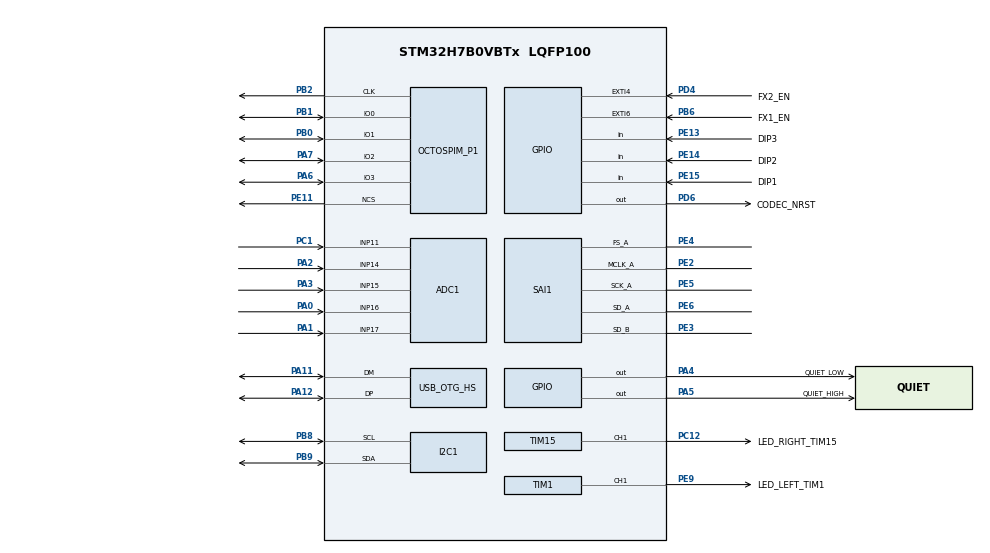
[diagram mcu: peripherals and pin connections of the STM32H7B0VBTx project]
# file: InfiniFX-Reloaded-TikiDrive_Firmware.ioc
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ADC1.Channel-0\#ChannelRegularConversion=ADC_CHANNEL_16
ADC1.Channel-1\#ChannelRegularConversion=ADC_CHANNEL_17
ADC1.Channel-2\#ChannelRegularConversion=ADC_CHANNEL_14
ADC1.Channel-3\#ChannelRegularConversion=ADC_CHANNEL_15
ADC1.Channel-4\#ChannelRegularConversion=ADC_CHANNEL_11
ADC1.ClockPrescaler=ADC_CLOCK_ASYNC_DIV2
ADC1.ConversionDataManagement=ADC_CONVERSIONDATA_DMA_CIRCULAR
ADC1.EOCSelection=ADC_EOC_SEQ_CONV
ADC1.ExternalTrigConv=ADC_EXTERNALTRIG_T3_TRGO
ADC1.NbrOfConversion=5
ADC1.NbrOfConversionFlag=1
ADC1.OffsetNumber-0\#ChannelRegularConversion=ADC_OFFSET_NONE
ADC1.OffsetNumber-1\#ChannelRegularConversion=ADC_OFFSET_NONE
ADC1.OffsetNumber-2\#ChannelRegularConversion=ADC_OFFSET_NONE
ADC1.OffsetNumber-3\#ChannelRegularConversion=ADC_OFFSET_NONE
ADC1.OffsetNumber-4\#ChannelRegularConversion=ADC_OFFSET_NONE
ADC1.OffsetSignedSaturation-0\#ChannelRegularConversion=DISABLE
ADC1.OffsetSignedSaturation-1\#ChannelRegularConversion=DISABLE
ADC1.OffsetSignedSaturation-2\#ChannelRegularConversion=DISABLE
ADC1.OffsetSignedSaturation-3\#ChannelRegularConversion=DISABLE
ADC1.OffsetSignedSaturation-4\#ChannelRegularConversion=DISABLE
ADC1.Rank-0\#ChannelRegularConversion=1
ADC1.Rank-1\#ChannelRegularConversion=2
ADC1.Rank-2\#ChannelRegularConversion=3
ADC1.Rank-3\#ChannelRegularConversion=4
ADC1.Rank-4\#ChannelRegularConversion=5
ADC1.SamplingTime-0\#ChannelRegularConversion=ADC_SAMPLETIME_32CYCLES_5
ADC1.SamplingTime-1\#ChannelRegularConversion=ADC_SAMPLETIME_32CYCLES_5
ADC1.SamplingTime-2\#ChannelRegularConversion=ADC_SAMPLETIME_32CYCLES_5
ADC1.SamplingTime-3\#ChannelRegularConversion=ADC_SAMPLETIME_32CYCLES_5
ADC1.SamplingTime-4\#ChannelRegularConversion=ADC_SAMPLETIME_32CYCLES_5
ADC1.master=1
ADC2.Channel-1\#ChannelRegularConversion=ADC_CHANNEL_TEMPSENSOR
ADC2.ClockPrescaler=ADC_CLOCK_ASYNC_DIV2
ADC2.NbrOfConversionFlag=1
ADC2.OffsetNumber-1\#ChannelRegularConversion=ADC_OFFSET_NONE
ADC2.OffsetSignedSaturation-1\#ChannelRegularConversion=DISABLE
ADC2.Rank-1\#ChannelRegularConversion=1
ADC2.SamplingTime-1\#ChannelRegularConversion=ADC_SAMPLETIME_1CYCLE_5
CORTEX_M7.CPU_DCache=Enabled
CORTEX_M7.CPU_ICache=Enabled
Dma.ADC1.0.Direction=DMA_PERIPH_TO_MEMORY
Dma.ADC1.0.EventEnable=DISABLE
Dma.ADC1.0.FIFOMode=DMA_FIFOMODE_DISABLE
Dma.ADC1.0.Instance=DMA2_Stream0
Dma.ADC1.0.MemDataAlignment=DMA_MDATAALIGN_HALFWORD
Dma.ADC1.0.MemInc=DMA_MINC_ENABLE
Dma.ADC1.0.Mode=DMA_CIRCULAR
Dma.ADC1.0.PeriphDataAlignment=DMA_PDATAALIGN_HALFWORD
Dma.ADC1.0.PeriphInc=DMA_PINC_DISABLE
Dma.ADC1.0.Polarity=HAL_DMAMUX_REQ_GEN_RISING
Dma.ADC1.0.Priority=DMA_PRIORITY_LOW
Dma.ADC1.0.RequestNumber=1
Dma.ADC1.0.SignalID=NONE
Dma.ADC1.0.SyncEnable=DISABLE
Dma.ADC1.0.SyncPolarity=HAL_DMAMUX_SYNC_NO_EVENT
Dma.ADC1.0.SyncRequestNumber=1
Dma.ADC1.0.SyncSignalID=NONE
Dma.Request0=ADC1
Dma.Request1=SAI1_A
Dma.Request2=SAI1_B
Dma.SAI1_A.1.Direction=DMA_MEMORY_TO_PERIPH
Dma.SAI1_A.1.EventEnable=DISABLE
Dma.SAI1_A.1.FIFOMode=DMA_FIFOMODE_DISABLE
Dma.SAI1_A.1.Instance=DMA1_Stream0
Dma.SAI1_A.1.MemDataAlignment=DMA_MDATAALIGN_WORD
Dma.SAI1_A.1.MemInc=DMA_MINC_ENABLE
Dma.SAI1_A.1.Mode=DMA_CIRCULAR
Dma.SAI1_A.1.PeriphDataAlignment=DMA_PDATAALIGN_WORD
Dma.SAI1_A.1.PeriphInc=DMA_PINC_DISABLE
Dma.SAI1_A.1.Polarity=HAL_DMAMUX_REQ_GEN_RISING
Dma.SAI1_A.1.Priority=DMA_PRIORITY_VERY_HIGH
Dma.SAI1_A.1.RequestNumber=1
Dma.SAI1_A.1.SignalID=NONE
Dma.SAI1_A.1.SyncEnable=DISABLE
Dma.SAI1_A.1.SyncPolarity=HAL_DMAMUX_SYNC_NO_EVENT
Dma.SAI1_A.1.SyncRequestNumber=1
Dma.SAI1_A.1.SyncSignalID=NONE
Dma.SAI1_B.2.Direction=DMA_PERIPH_TO_MEMORY
Dma.SAI1_B.2.EventEnable=DISABLE
Dma.SAI1_B.2.FIFOMode=DMA_FIFOMODE_DISABLE
Dma.SAI1_B.2.Instance=DMA1_Stream1
Dma.SAI1_B.2.MemDataAlignment=DMA_MDATAALIGN_WORD
Dma.SAI1_B.2.MemInc=DMA_MINC_ENABLE
Dma.SAI1_B.2.Mode=DMA_CIRCULAR
Dma.SAI1_B.2.PeriphDataAlignment=DMA_PDATAALIGN_WORD
Dma.SAI1_B.2.PeriphInc=DMA_PINC_DISABLE
Dma.SAI1_B.2.Polarity=HAL_DMAMUX_REQ_GEN_RISING
Dma.SAI1_B.2.Priority=DMA_PRIORITY_VERY_HIGH
Dma.SAI1_B.2.RequestNumber=1
Dma.SAI1_B.2.SignalID=NONE
Dma.SAI1_B.2.SyncEnable=DISABLE
Dma.SAI1_B.2.SyncPolarity=HAL_DMAMUX_SYNC_NO_EVENT
Dma.SAI1_B.2.SyncRequestNumber=1
Dma.SAI1_B.2.SyncSignalID=NONE
I2C1.Timing=0x20B0CCFF
Mcu.Family=STM32H7
Mcu.Name=STM32H7B0VBTx
Mcu.Package=LQFP100
NVIC.DMA1_Stream0_IRQn=true\:0\:0\:false\:false\:true\:false\:true\:true
NVIC.DMA1_Stream1_IRQn=true\:0\:0\:false\:false\:true\:false\:true\:true
NVIC.DMA2_Stream0_IRQn=true\:0\:0\:false\:false\:true\:false\:true\:true
NVIC.EXTI4_IRQn=true\:0\:0\:false\:false\:true\:true\:true\:true
NVIC.EXTI9_5_IRQn=true\:0\:0\:false\:false\:true\:true\:true\:true
NVIC.OTG_HS_EP1_IN_IRQn=true\:0\:0\:false\:false\:true\:true\:true\:true
NVIC.OTG_HS_EP1_OUT_IRQn=true\:0\:0\:false\:false\:true\:true\:true\:true
NVIC.OTG_HS_IRQn=true\:0\:0\:false\:false\:true\:false\:true\:true
NVIC.PriorityGroup=NVIC_PRIORITYGROUP_4
NVIC.TIM3_IRQn=true\:0\:0\:false\:false\:true\:true\:true\:true
PA0.Mode=IN16-Single-Ended
PA0.Signal=ADC1_INP16
PA1.Mode=IN17-Single-Ended
PA1.Signal=ADC1_INP17
PA11.GPIO_Speed=GPIO_SPEED_FREQ_VERY_HIGH
PA11.Mode=Device_Only_FS
PA11.Signal=USB_OTG_HS_DM
PA12.GPIO_Speed=GPIO_SPEED_FREQ_VERY_HIGH
PA12.Mode=Device_Only_FS
PA12.Signal=USB_OTG_HS_DP
PA13.Mode=Serial_Wire
PA13.Signal=DEBUG_JTMS-SWDIO
PA14.Mode=Serial_Wire
PA14.Signal=DEBUG_JTCK-SWCLK
PA2.Signal=ADCx_INP14
PA3.Mode=IN15-Single-Ended
PA3.Signal=ADC1_INP15
PA4.GPIO_Label=QUIET_LOW
PA4.GPIO_Speed=GPIO_SPEED_FREQ_VERY_HIGH
PA4.Signal=GPIO_Output
PA5.GPIO_Label=QUIET_HIGH
PA5.GPIO_Speed=GPIO_SPEED_FREQ_VERY_HIGH
PA5.PinState=GPIO_PIN_SET
PA5.Signal=GPIO_Output
PA6.GPIO_PuPd=GPIO_PULLUP
PA6.Mode=OCTOSPI2_IOL_Port1L
PA6.Signal=OCTOSPIM_P1_IO3
PA7.GPIO_PuPd=GPIO_PULLUP
PA7.Mode=OCTOSPI2_IOL_Port1L
PA7.Signal=OCTOSPIM_P1_IO2
PB0.GPIO_PuPd=GPIO_PULLUP
PB0.Mode=OCTOSPI2_IOL_Port1L
PB0.Signal=OCTOSPIM_P1_IO1
PB1.GPIO_PuPd=GPIO_PULLUP
PB1.Mode=OCTOSPI2_IOL_Port1L
PB1.Signal=OCTOSPIM_P1_IO0
PB2.Mode=O2_P1_CLK
PB2.Signal=OCTOSPIM_P1_CLK
PB6.GPIO_Label=FX1_EN
PB6.GPIO_ModeDefaultEXTI=GPIO_MODE_IT_RISING_FALLING
PB6.GPIO_PuPd=GPIO_PULLUP
PB6.Signal=GPXTI6
PB8.Mode=I2C
PB8.Signal=I2C1_SCL
PB9.Mode=I2C
PB9.Signal=I2C1_SDA
PC1.Signal=ADCx_INP11
PC12.GPIO_Label=LED_RIGHT_TIM15
PC12.GPIO_Speed=GPIO_SPEED_FREQ_MEDIUM
PC12.Signal=S_TIM15_CH1
PD4.GPIO_Label=FX2_EN
PD4.GPIO_ModeDefaultEXTI=GPIO_MODE_IT_RISING_FALLING
PD4.GPIO_PuPd=GPIO_PULLUP
PD4.Signal=GPXTI4
PD6.GPIO_Label=CODEC_NRST
PD6.Signal=GPIO_Output
PE11.Mode=OCTOSPI2_Port1_NCS
PE11.Signal=OCTOSPIM_P1_NCS
PE13.GPIO_Label=DIP3
PE13.GPIO_PuPd=GPIO_PULLUP
PE13.Signal=GPIO_Input
PE14.GPIO_Label=DIP2
PE14.GPIO_PuPd=GPIO_PULLUP
PE14.Signal=GPIO_Input
PE15.GPIO_Label=DIP1
PE15.GPIO_PuPd=GPIO_PULLUP
PE15.Signal=GPIO_Input
PE2.GPIO_Speed=GPIO_SPEED_FREQ_VERY_HIGH
PE2.Mode=SAI_A_MasterWithClock
PE2.Signal=SAI1_MCLK_A
PE3.GPIO_PuPd=GPIO_PULLDOWN
PE3.GPIO_Speed=GPIO_SPEED_FREQ_VERY_HIGH
PE3.Mode=SAI_B_SyncSlave
PE3.Signal=SAI1_SD_B
PE4.GPIO_Speed=GPIO_SPEED_FREQ_VERY_HIGH
PE4.Mode=SAI_A_MasterWithClock
PE4.Signal=SAI1_FS_A
PE5.GPIO_Speed=GPIO_SPEED_FREQ_VERY_HIGH
PE5.Mode=SAI_A_MasterWithClock
PE5.Signal=SAI1_SCK_A
PE6.GPIO_Speed=GPIO_SPEED_FREQ_VERY_HIGH
PE6.Mode=SAI_A_MasterWithClock
PE6.Signal=SAI1_SD_A
PE9.GPIO_Label=LED_LEFT_TIM1
PE9.GPIO_Speed=GPIO_SPEED_FREQ_MEDIUM
PE9.Signal=S_TIM1_CH1
PH0-OSC_IN.Mode=HSE-External-Oscillator
PH0-OSC_IN.Signal=RCC_OSC_IN
PH1-OSC_OUT.Mode=HSE-External-Oscillator
PH1-OSC_OUT.Signal=RCC_OSC_OUT
ProjectManager.HeapSize=0x200
ProjectManager.StackSize=0x400
ProjectManager.TargetToolchain=STM32CubeIDE
RCC.ADCCLockSelection=RCC_ADCCLKSOURCE_PLL3
RCC.ADCFreq_Value=48000000
RCC.APB1Freq_Value=140000000
RCC.APB2Freq_Value=140000000
RCC.APB3Freq_Value=140000000
RCC.APB4Freq_Value=140000000
RCC.CDPPRE=RCC_APB3_DIV2
RCC.CDPPRE1=RCC_APB1_DIV2
RCC.CDPPRE2=RCC_APB2_DIV2
RCC.CortexFreq_Value=280000000
RCC.DIVM1=12
RCC.DIVM2=12
RCC.DIVM3=24
RCC.DIVN1=280
RCC.DIVN2=98
RCC.DIVN3=192
RCC.DIVP3=4
RCC.DIVQ3=4
RCC.DIVR3=4
RCC.HCLKFreq_Value=280000000
RCC.PLL2FRACN=0
RCC.PLL3FRACN=0
RCC.PLLFRACN=0
RCC.SAI1CLockSelection=RCC_SAI1CLKSOURCE_PLL2
RCC.SRDPPRE=RCC_APB4_DIV2
RCC.SYSCLKFreq_VALUE=280000000
RCC.SYSCLKSource=RCC_SYSCLKSOURCE_PLLCLK
RCC.USBCLockSelection=RCC_USBCLKSOURCE_PLL3
RCC.USBFreq_Value=48000000
SAI1.AudioFrequency-SAI_A_MasterWithClock=SAI_AUDIO_FREQUENCY_32K
SAI1.BasicDataSize-SAI_A_MasterWithClock=SAI_PROTOCOL_DATASIZE_24BIT
SAI1.BasicDataSize-SAI_B_SyncSlave=SAI_PROTOCOL_DATASIZE_24BIT
SAI1.ErrorAudioFreq-SAI_A_MasterWithClock=-0.3 %
SAI1.InitProtocol-SAI_A_MasterWithClock=Enable
SAI1.InitProtocol-SAI_B_SyncSlave=Enable
SAI1.Instance-SAI_A_MasterWithClock=SAI$Index_Block_A
SAI1.Instance-SAI_B_SyncSlave=SAI$Index_Block_B
SAI1.MckOutput=SAI_MCK_OUTPUT_ENABLE
SAI1.RealAudioFreq-SAI_A_MasterWithClock=31.901 KHz
SAI1.VirtualMode-SAI_A_MasterWithClock=VM_MASTER
SAI1.VirtualMode-SAI_B_SyncSlave=VM_SLAVE
SAI1.VirtualProtocol-SAI_A_BASIC=VM_BASIC_PROTOCOL
SAI1.VirtualProtocol-SAI_B_BASIC=VM_BASIC_PROTOCOL
SH.ADCx_INP11.0=ADC1_INP11,IN11-Single-Ended
SH.ADCx_INP14.0=ADC1_INP14,IN14-Single-Ended
SH.S_TIM15_CH1.0=TIM15_CH1,PWM Generation1 CH1
SH.S_TIM1_CH1.0=TIM1_CH1,PWM Generation1 CH1
TIM1.Channel-PWM\ Generation1\ CH1=TIM_CHANNEL_1
TIM1.Period=100-1
TIM1.Prescaler=28000-1
TIM15.Channel-PWM\ Generation1\ CH1=TIM_CHANNEL_1
TIM15.Period=100-1
TIM15.Prescaler=28000-1
TIM3.Channel-PWM\ Generation1\ No\ Output=TIM_CHANNEL_1
TIM3.Period=1000-1
TIM3.Prescaler=28000-1
TIM3.TIM_MasterOutputTrigger=TIM_TRGO_UPDATE
USB_DEVICE.CLASS_NAME_HS=AUDIO
USB_DEVICE.MANUFACTURER_STRING=Phil's Lab
USB_DEVICE.PRODUCT_STRING_AUDIO_HS=InfiniFX
USB_DEVICE.USBD_AUDIO_FREQ=44100
USB_DEVICE.USBD_MAX_NUM_INTERFACES=2
USB_DEVICE.VirtualMode=Audio
USB_DEVICE.VirtualMode-AUDIO_HS=Audio
USB_DEVICE.VirtualModeHS=Audio_HS
USB_OTG_HS.VirtualMode-Device_Only_FS=Device_Only_FS
USB_OTG_HS.dma_enable-Device_Only_FS=DISABLE
VP_ADC2_TempSens_Input.Mode=IN-TempSens
VP_OCTOSPI2_VS_quad.Mode=quad_mode
VP_SAI1_VP_$IpInstance_SAIA_SAI_BASIC.Mode=SAI_A_BASIC
VP_SAI1_VP_$IpInstance_SAIB_SAI_BASIC.Mode=SAI_B_BASIC
VP_TIM15_VS_ClockSourceINT.Mode=Internal
VP_TIM1_VS_ClockSourceINT.Mode=Internal
VP_TIM3_VS_ClockSourceINT.Mode=Internal
VP_TIM3_VS_no_output1.Mode=PWM Generation1 No Output
VP_USB_DEVICE_VS_USB_DEVICE_AUDIO_HS.Mode=AUDIO_HS
board=custom

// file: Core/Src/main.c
/* USER CODE BEGIN Header */
/**
  ******************************************************************************
  * @file           : main.c
  * @brief          : Main program body
  ******************************************************************************
  * @attention
  *
  * Copyright (c) 2022 STMicroelectronics.
  * All rights reserved.
  *
  * This software is licensed under terms that can be found in the LICENSE file
  * in the root directory of this software component.
  * If no LICENSE file comes with this software, it is provided AS-IS.
  *
  ******************************************************************************
  */
/* USER CODE END Header */
#include "main.h"
#include "usb_device.h"

/* USER CODE BEGIN Includes */
#include "CS4270-Codec.h"

#include "IFX_Overdrive.h"
#include "IFX_NoiseGate.h"
#include "IFX_LogAudioPot.h"
#include "IFX_Delay.h"
#include "IFX_Chorus.h"
/* USER CODE END Includes */

/* USER CODE BEGIN PD */
#define SAMPLING_FREQUENCY_HZ 32552.0f

#define UINT16_TO_FLOAT 0.00001525878f
#define INT16_TO_FLOAT 	0.00003051757f
#define FLOAT_TO_INT16 	32768.0f

#define AUDIO_BUFFER_SIZE 256

// Number of ADC channels for controls (pots)
#define CONTROL_SETTING_COUNT 5

// 1st order low-pass filter constant for control setting values (Control ADC). 0 = no filtering, 1 = max. filtering
#define CONTROL_SETTING_ALPHA 0.5f

// Controls have to be changed by +- this percentage amount to update FX parameters
#define CONTROL_SETTING_CHANGE_THRESHOLD 0.025f

#define OD_GAIN_MIN				 10.0f
#define OD_GAIN_SCALE			 100.0f
#define OD_GAIN_BOOST			 100.0f

#define OD_HPF_CUTOFF_MAX		 1000.0f
#define OD_HPF_CUTOFF_SCALE 	  900.0f

#define OD_LPF_CUTOFF_MIN		  500.0f
#define OD_LPF_CUTOFF_SCALE		16000.0f
#define OD_LPF_DAMP				   1.0f
/* USER CODE END PD */

ADC_HandleTypeDef hadc1;
ADC_HandleTypeDef hadc2;
DMA_HandleTypeDef hdma_adc1;

I2C_HandleTypeDef hi2c1;

OSPI_HandleTypeDef hospi2;

SAI_HandleTypeDef hsai_BlockA1;
SAI_HandleTypeDef hsai_BlockB1;
DMA_HandleTypeDef hdma_sai1_a;
DMA_HandleTypeDef hdma_sai1_b;

TIM_HandleTypeDef htim1;
TIM_HandleTypeDef htim3;
TIM_HandleTypeDef htim15;

/* USER CODE BEGIN PV */
//IFX_NoiseGate ng		__attribute__ ((section(".audiobuffer")));
IFX_Overdrive od		__attribute__ ((section(".audiobuffer")));

//IFX_Delay dly			;//__attribute__ ((section(".audiobuffer")));
//IFX_Delay dly2;

//IFX_Chorus chorus		__attribute__ ((section(".audiobuffer")));

uint8_t fxEnabled1		__attribute__ ((section(".audiobuffer")));
uint8_t fxEnabled2		__attribute__ ((section(".audiobuffer")));

/* NON-CACHEABLE MEMORY */
int32_t adcBuf[AUDIO_BUFFER_SIZE] 		__attribute__ ((section(".audiobuffer")));
int32_t dacBuf[AUDIO_BUFFER_SIZE] 		__attribute__ ((section(".audiobuffer")));

static volatile int32_t *inBufPtr 		__attribute__ ((section(".audiobuffer")));
static volatile int32_t *outBufPtr 		__attribute__ ((section(".audiobuffer")));

volatile uint8_t processHalfFlag		__attribute__ ((section(".audiobuffer")));

volatile uint16_t controlSettingBuf[CONTROL_SETTING_COUNT] 	__attribute__ ((section(".audiobuffer")));
volatile float controlSetting[CONTROL_SETTING_COUNT]		__attribute__ ((section(".audiobuffer")));
volatile uint8_t controlSettingsLocked						__attribute__ ((section(".audiobuffer")));
volatile uint8_t controlSettingsFlag						__attribute__ ((section(".audiobuffer")));

volatile float outputVolume									__attribute__ ((section(".audiobuffer")));

/* USER CODE END PV */

void SystemClock_Config(void);
void PeriphCommonClock_Config(void);
static void MX_GPIO_Init(void);
static void MX_DMA_Init(void);
static void MX_ADC1_Init(void);
static void MX_ADC2_Init(void);
static void MX_OCTOSPI2_Init(void);
static void MX_SAI1_Init(void);
static void MX_TIM3_Init(void);
static void MX_I2C1_Init(void);
static void MX_TIM15_Init(void);
static void MX_TIM1_Init(void);
/* USER CODE BEGIN PFP */
void MPU_Init()
{
	MPU_Region_InitTypeDef MPU_InitStruct;

	/* Disable MPU */
	HAL_MPU_Disable();

	/* Configure RAM CD region as Region N°0, 128kB of size and R/W region */
	MPU_InitStruct.Enable = MPU_REGION_ENABLE;
	MPU_InitStruct.BaseAddress = 0x30000000;
	MPU_InitStruct.Size = MPU_REGION_SIZE_128KB;
	MPU_InitStruct.AccessPermission = MPU_REGION_FULL_ACCESS;
	MPU_InitStruct.IsBufferable = MPU_ACCESS_NOT_BUFFERABLE;
	MPU_InitStruct.IsCacheable = MPU_ACCESS_NOT_CACHEABLE;
	MPU_InitStruct.IsShareable = MPU_ACCESS_SHAREABLE;
	MPU_InitStruct.Number = MPU_REGION_NUMBER0;
	MPU_InitStruct.TypeExtField = MPU_TEX_LEVEL0;
	MPU_InitStruct.SubRegionDisable = 0x00;
	MPU_InitStruct.DisableExec = MPU_INSTRUCTION_ACCESS_ENABLE;
	HAL_MPU_ConfigRegion(&MPU_InitStruct);

	/* Enable MPU */
	HAL_MPU_Enable(MPU_PRIVILEGED_DEFAULT);
}

void Process_HalfBuffer() {

	controlSettingsLocked = 1;

	// Input samples
	static float leftIn		= 0.0f;
	static float rightIn	= 0.0f;

	// Output samples
	static float leftOut	= 0.0f;
	static float rightOut	= 0.0f;

	// Loop through half of audio buffer (double buffering), convert int->float, apply processing, convert float->int, set output buffers
	for (uint16_t sampleIndex = 0; sampleIndex < (AUDIO_BUFFER_SIZE/2) - 1; sampleIndex += 2) {

		/*
		 * Convert current input samples (24-bits) to floats (two I2S data lines, two channels per data line)
		 */

		// Extract 24-bits via bit mask
		inBufPtr[sampleIndex]		&= 0xFFFFFF;
		inBufPtr[sampleIndex + 1]	&= 0xFFFFFF;

		// Check if number is negative (sign bit)
		if (inBufPtr[sampleIndex] & 0x800000) {
			inBufPtr[sampleIndex] |= ~0xFFFFFF;
		}

		if (inBufPtr[sampleIndex + 1] & 0x800000) {
			inBufPtr[sampleIndex + 1] |= ~0xFFFFFF;
		}

		// Normalise to float (-1.0, +1.0)
		leftIn  = (float) inBufPtr[sampleIndex]     / (float) (0x7FFFFF);
		rightIn = (float) inBufPtr[sampleIndex + 1] / (float) (0x7FFFFF);

		/*
		 * Apply processing
		 */
		leftOut  = outputVolume * IFX_Overdrive_Update(&od, leftIn);//(0.25f * leftIn + 0.75f * rightIn); //IFX_Delay_Update(&dly, leftIn);
		rightOut = outputVolume * rightIn;

		/*
		 * Convert floats to 32-bit output samples
		 */

		// Ensure output samples are within [-1.0,+1.0] range
		if (leftOut < -1.0f) {
			leftOut = -1.0f;
		} else if (leftOut > 1.0f) {
			leftOut =  1.0f;
		}

		if (rightOut < -1.0f) {
			rightOut = -1.0f;
		} else if (rightOut > 1.0f) {
			rightOut =  1.0f;
		}

		// Scale to 24-bit signed integer and set output buffer
		outBufPtr[sampleIndex]	   = (int32_t) (leftOut  * 0x7FFFFF);
		outBufPtr[sampleIndex + 1] = (int32_t) (rightOut * 0x7FFFFF);

	}

	controlSettingsLocked = 0;

}

/*
void Process_HalfBuffer() {

	static float leftIn;
	static float leftProcessed;
	static int16_t leftOut;

	// Lock control settings
	controlSettingsLocked = 1;

	// Loop through half of double buffer
	for (uint8_t n = 0; n < (AUDIO_BUFFER_SIZE/2) - 1; n += 2) {

		// Convert to float
		leftIn  = INT16_TO_FLOAT * ((float) inBufPtr[n]);

		// Apply processing to input

		leftProcessed = leftIn;

		//leftProcessed = IFX_Overdrive_Update(&od, leftIn);

		//leftProcessed = IFX_Delay_Update(&dly, leftIn);

		//leftProcessed = IFX_NoiseGate_Update(&ng, leftProcessed);

		//leftProcessed = IFX_Chorus_Update(&ch, leftIn);

		// Convert processed float to int16_t for output buffer
		leftOut  = (int16_t) (FLOAT_TO_INT16 * outputVolume * leftProcessed);

		// Set output buffer samples
		outBufPtr[n]   = leftOut;
		outBufPtr[n+1] = 0;

	}

	// Allow control settings to be updated
	controlSettingsLocked = 0;

}
*/

/* ADC Callbacks */
void HAL_SAI_RxHalfCpltCallback(SAI_HandleTypeDef *hsai) {

	inBufPtr  = &(adcBuf[0]);
	outBufPtr = &(dacBuf[0]);

	Process_HalfBuffer();

}

void HAL_SAI_RxCpltCallback(SAI_HandleTypeDef *hsai) {

	inBufPtr  = &(adcBuf[AUDIO_BUFFER_SIZE/2]);
	outBufPtr = &(dacBuf[AUDIO_BUFFER_SIZE/2]);

	Process_HalfBuffer();

}

void HAL_ADC_ConvCpltCallback(ADC_HandleTypeDef *hadc) {

	if (hadc->Instance == ADC1) {

		controlSettingsFlag = 1;

	}

}

void SetLED(uint8_t index, uint8_t intensity) {

	if (index == 0) {

		htim1.Instance->CCR1 = intensity;

	} else {

		htim15.Instance->CCR1 = intensity;

	}

}

void Error_LED() {

	while (1) {

		SetLED(0, 0);
		SetLED(1, 0);
		HAL_Delay(500);

		SetLED(0, 50);
		SetLED(1, 50);
		HAL_Delay(500);

	}

}

/* USER CODE END PFP */

/* USER CODE BEGIN 0 */
void HAL_GPIO_EXTI_Callback(uint16_t GPIO_Pin)
{

	// OD/Noise gate
	if (GPIO_Pin == FX1_EN_Pin) {

		fxEnabled1 = fxEnabled1 ? 0 : 1;
		SetLED(0, 50 * fxEnabled1);

	// Gain/volume boost
	} else if (GPIO_Pin == FX2_EN_Pin) {

		fxEnabled2 = fxEnabled2 ? 0 : 1;
		SetLED(1, 50 * fxEnabled2);

		od.boostGain = fxEnabled2 * OD_GAIN_BOOST;

	}

}
/* USER CODE END 0 */

int main(void)
{
  /* USER CODE BEGIN 1 */
  MPU_Init();
  /* USER CODE END 1 */
/* Enable the CPU Cache */

  /* Enable I-Cache---------------------------------------------------------*/
  SCB_EnableICache();

  /* Enable D-Cache---------------------------------------------------------*/
  SCB_EnableDCache();

  /* MCU Configuration--------------------------------------------------------*/

  /* Reset of all peripherals, Initializes the Flash interface and the Systick. */
  HAL_Init();

  /* Configure the system clock */
  SystemClock_Config();

/* Configure the peripherals common clocks */
  PeriphCommonClock_Config();

  /* Initialize all configured peripherals */
  MX_GPIO_Init();
  MX_DMA_Init();
  MX_ADC1_Init();
  MX_ADC2_Init();
  MX_OCTOSPI2_Init();
  MX_SAI1_Init();
  MX_USB_DEVICE_Init();
  MX_TIM3_Init();
  MX_I2C1_Init();
  MX_TIM15_Init();
  MX_TIM1_Init();
  /* USER CODE BEGIN 2 */

  /* Reset variables */
  processHalfFlag = 0;
  controlSetting[0] = 0.5f; controlSetting[1] = 0.5f; controlSetting[2] = 0.5f; controlSetting[3] = 0.5f; controlSetting[4] = 0.5f;
  outputVolume = 1.00f;

  /* Initialise FX */
  //IFX_NoiseGate_Init(&ng, 0.1f, 2.0f, 2.0f, 20.0f, SAMPLING_FREQUENCY_HZ);

  IFX_Overdrive_Init(&od, SAMPLING_FREQUENCY_HZ, OD_HPF_CUTOFF_MAX, OD_GAIN_MIN, OD_LPF_CUTOFF_MIN, OD_LPF_DAMP);

/*  IFX_Chorus_Init(&chorus,
					10, 15,
					10.0f, 10.0f,
				  0.25f, 0.25f,
				  1.0f, 1.0f,
				  0.5f,
				  SAMPLING_FREQUENCY_HZ);*/

  //IFX_Delay_Init(&dly, 500.0f, 0.5f, 0.5f, SAMPLING_FREQUENCY_HZ);
  //IFX_Delay_Init(&dly2, 500.0f, 0.5f, 0.5f, SAMPLING_FREQUENCY_HZ);

  /* Start LED timers and set duty cycle to zero */
  HAL_TIM_PWM_Start(&htim1, TIM_CHANNEL_1);
  HAL_TIM_PWM_Start(&htim15, TIM_CHANNEL_1);

  /* Check footswitch status */
  fxEnabled1 = HAL_GPIO_ReadPin(FX1_EN_GPIO_Port, FX1_EN_Pin);
  fxEnabled2 = HAL_GPIO_ReadPin(FX2_EN_GPIO_Port, FX2_EN_Pin);

  od.boostGain = fxEnabled2 * OD_GAIN_BOOST;

  SetLED(0, 50 * fxEnabled1);
  SetLED(1, 50 * fxEnabled2);

  /* Calibrate control setting ADCs */
  HAL_StatusTypeDef halStatus;

  halStatus = HAL_ADCEx_Calibration_Start(&hadc1, ADC_CALIB_OFFSET, ADC_SINGLE_ENDED);
  if ( halStatus != HAL_OK ) { Error_LED(); }

  /* Start control setting ADCs and sampling timer */
  halStatus = HAL_ADC_Start_DMA(&hadc1, (uint32_t *) controlSettingBuf, CONTROL_SETTING_COUNT);
  if ( halStatus != HAL_OK ) { Error_LED(); }

  halStatus = HAL_TIM_Base_Start(&htim3);
  if ( halStatus != HAL_OK ) { Error_LED(); }

  /* Initialise SAIs (to start clocks, so that codec PLL locks) */

  halStatus = HAL_SAI_Init(&hsai_BlockA1);
  if ( halStatus != HAL_OK ) { Error_LED(); }

  halStatus = HAL_SAI_Init(&hsai_BlockB1);
  if ( halStatus != HAL_OK ) { Error_LED(); }

  /*
   * Initialise codec
   */
  uint8_t codecInitStatus = CS4270_Init();
  if ( codecInitStatus != 0 ) { Error_LED(); };

  /*
   * Start SAI DAC transmission
   */
  halStatus = HAL_SAI_Transmit_DMA(&hsai_BlockA1, (uint8_t *) dacBuf, AUDIO_BUFFER_SIZE);
  if ( halStatus != HAL_OK ) { Error_LED(); }

  /*
   * Start SAI ADC reception
   */
  halStatus = HAL_SAI_Receive_DMA(&hsai_BlockB1,  (uint8_t *) adcBuf, AUDIO_BUFFER_SIZE);
  if ( halStatus != HAL_OK ) { Error_LED(); }

  /* USER CODE END 2 */

  /* Infinite loop */
  while (1)
  {

    /* USER CODE BEGIN 3 */
//		if ( processHalfFlag ) {

	//		processHalfFlag = 0;
	//		Process_HalfBuffer();

	//	}

		if ( controlSettingsFlag && !controlSettingsLocked ) {

			float prevControlSetting[5];

			for (uint8_t controlSettingNum = 0; controlSettingNum < CONTROL_SETTING_COUNT; controlSettingNum++) {

				// Shift samples
				prevControlSetting[controlSettingNum] = controlSetting[controlSettingNum];

				// Convert raw ADC readings to float (0 ... 1), and low-pass filter
				controlSetting[controlSettingNum] = CONTROL_SETTING_ALPHA * prevControlSetting[controlSettingNum] + (1.0f - CONTROL_SETTING_ALPHA) * UINT16_TO_FLOAT * controlSettingBuf[controlSettingNum];

				// If large enough control setting change (out of deadband), set FX parameters
				if ( (controlSetting[controlSettingNum] > (1.0f + CONTROL_SETTING_CHANGE_THRESHOLD) * prevControlSetting[controlSettingNum])
				  || (controlSetting[controlSettingNum] < (1.0f - CONTROL_SETTING_CHANGE_THRESHOLD) * prevControlSetting[controlSettingNum]) ) {

					switch (controlSettingNum) {

						// Gain
						case 0:

							// Log
							//dly.mix = controlSetting[0];
							IFX_Overdrive_SetGain(&od, OD_GAIN_MIN + OD_GAIN_SCALE * controlSetting[0]);

							break;

						// EQ Low
						case 1:

							//IFX_Delay_SetLength(&dly, 50.0f + 950.0f * controlSetting[1], SAMPLING_FREQUENCY_HZ);
							IFX_Overdrive_SetHPF(&od, OD_HPF_CUTOFF_MAX - OD_HPF_CUTOFF_SCALE * controlSetting[1]);

							break;

						// Volume
						case 2:

							// Log
							outputVolume = controlSetting[2];

							break;

						// EQ High
						case 3:

							//dly.blend = controlSetting[3];
							IFX_Overdrive_SetLPF(&od, OD_LPF_CUTOFF_MIN + OD_LPF_CUTOFF_SCALE * controlSetting[3], OD_LPF_DAMP);

							break;

						// Noise Gate (Threshold)
						case 4:

							od.Q = -0.05f - controlSetting[4];
							//dly.feedback = controlSetting[4];
							// Log
							//IFX_Delay_SetLength(&dly, 5.0f + 500.0f * controlSetting[4], SAMPLING_FREQUENCY_HZ);
							//IFX_NoiseGate_SetThreshold(&ng, 0.3f * controlSetting[4]);

							break;

					}

				}

			}

			controlSettingsFlag = 0;

		}
  }
  /* USER CODE END 3 */
}

void SystemClock_Config(void)
{
  RCC_OscInitTypeDef RCC_OscInitStruct = {0};
  RCC_ClkInitTypeDef RCC_ClkInitStruct = {0};

  /*AXI clock gating */
  RCC->CKGAENR = 0xFFFFFFFF;

  /** Supply configuration update enable
  */
  HAL_PWREx_ConfigSupply(PWR_LDO_SUPPLY);

  /** Configure the main internal regulator output voltage
  */
  __HAL_PWR_VOLTAGESCALING_CONFIG(PWR_REGULATOR_VOLTAGE_SCALE0);

  while(!__HAL_PWR_GET_FLAG(PWR_FLAG_VOSRDY)) {}

  /** Initializes the RCC Oscillators according to the specified parameters
  * in the RCC_OscInitTypeDef structure.
  */
  RCC_OscInitStruct.OscillatorType = RCC_OSCILLATORTYPE_HSE;
  RCC_OscInitStruct.HSEState = RCC_HSE_ON;
  RCC_OscInitStruct.PLL.PLLState = RCC_PLL_ON;
  RCC_OscInitStruct.PLL.PLLSource = RCC_PLLSOURCE_HSE;
  RCC_OscInitStruct.PLL.PLLM = 12;
  RCC_OscInitStruct.PLL.PLLN = 280;
  RCC_OscInitStruct.PLL.PLLP = 2;
  RCC_OscInitStruct.PLL.PLLQ = 2;
  RCC_OscInitStruct.PLL.PLLR = 2;
  RCC_OscInitStruct.PLL.PLLRGE = RCC_PLL1VCIRANGE_1;
  RCC_OscInitStruct.PLL.PLLVCOSEL = RCC_PLL1VCOWIDE;
  RCC_OscInitStruct.PLL.PLLFRACN = 0;
  if (HAL_RCC_OscConfig(&RCC_OscInitStruct) != HAL_OK)
  {
    Error_Handler();
  }

  /** Initializes the CPU, AHB and APB buses clocks
  */
  RCC_ClkInitStruct.ClockType = RCC_CLOCKTYPE_HCLK|RCC_CLOCKTYPE_SYSCLK
                              |RCC_CLOCKTYPE_PCLK1|RCC_CLOCKTYPE_PCLK2
                              |RCC_CLOCKTYPE_D3PCLK1|RCC_CLOCKTYPE_D1PCLK1;
  RCC_ClkInitStruct.SYSCLKSource = RCC_SYSCLKSOURCE_PLLCLK;
  RCC_ClkInitStruct.SYSCLKDivider = RCC_SYSCLK_DIV1;
  RCC_ClkInitStruct.AHBCLKDivider = RCC_HCLK_DIV1;
  RCC_ClkInitStruct.APB3CLKDivider = RCC_APB3_DIV2;
  RCC_ClkInitStruct.APB1CLKDivider = RCC_APB1_DIV2;
  RCC_ClkInitStruct.APB2CLKDivider = RCC_APB2_DIV2;
  RCC_ClkInitStruct.APB4CLKDivider = RCC_APB4_DIV2;

  if (HAL_RCC_ClockConfig(&RCC_ClkInitStruct, FLASH_LATENCY_6) != HAL_OK)
  {
    Error_Handler();
  }
}

void PeriphCommonClock_Config(void)
{
  RCC_PeriphCLKInitTypeDef PeriphClkInitStruct = {0};

  /** Initializes the peripherals clock
  */
  PeriphClkInitStruct.PeriphClockSelection = RCC_PERIPHCLK_USB|RCC_PERIPHCLK_ADC
                              |RCC_PERIPHCLK_SAI1;
  PeriphClkInitStruct.PLL2.PLL2M = 12;
  PeriphClkInitStruct.PLL2.PLL2N = 98;
  PeriphClkInitStruct.PLL2.PLL2P = 2;
  PeriphClkInitStruct.PLL2.PLL2Q = 2;
  PeriphClkInitStruct.PLL2.PLL2R = 2;
  PeriphClkInitStruct.PLL2.PLL2RGE = RCC_PLL2VCIRANGE_1;
  PeriphClkInitStruct.PLL2.PLL2VCOSEL = RCC_PLL2VCOWIDE;
  PeriphClkInitStruct.PLL2.PLL2FRACN = 0;
  PeriphClkInitStruct.PLL3.PLL3M = 24;
  PeriphClkInitStruct.PLL3.PLL3N = 192;
  PeriphClkInitStruct.PLL3.PLL3P = 4;
  PeriphClkInitStruct.PLL3.PLL3Q = 4;
  PeriphClkInitStruct.PLL3.PLL3R = 4;
  PeriphClkInitStruct.PLL3.PLL3RGE = RCC_PLL3VCIRANGE_0;
  PeriphClkInitStruct.PLL3.PLL3VCOSEL = RCC_PLL3VCOWIDE;
  PeriphClkInitStruct.PLL3.PLL3FRACN = 0;
  PeriphClkInitStruct.Sai1ClockSelection = RCC_SAI1CLKSOURCE_PLL2;
  PeriphClkInitStruct.UsbClockSelection = RCC_USBCLKSOURCE_PLL3;
  PeriphClkInitStruct.AdcClockSelection = RCC_ADCCLKSOURCE_PLL3;
  if (HAL_RCCEx_PeriphCLKConfig(&PeriphClkInitStruct) != HAL_OK)
  {
    Error_Handler();
  }
}

static void MX_ADC1_Init(void)
{

  ADC_MultiModeTypeDef multimode = {0};
  ADC_ChannelConfTypeDef sConfig = {0};

  /** Common config
  */
  hadc1.Instance = ADC1;
  hadc1.Init.ClockPrescaler = ADC_CLOCK_ASYNC_DIV2;
  hadc1.Init.Resolution = ADC_RESOLUTION_16B;
  hadc1.Init.ScanConvMode = ADC_SCAN_ENABLE;
  hadc1.Init.EOCSelection = ADC_EOC_SEQ_CONV;
  hadc1.Init.LowPowerAutoWait = DISABLE;
  hadc1.Init.ContinuousConvMode = DISABLE;
  hadc1.Init.NbrOfConversion = 5;
  hadc1.Init.DiscontinuousConvMode = DISABLE;
  hadc1.Init.ExternalTrigConv = ADC_EXTERNALTRIG_T3_TRGO;
  hadc1.Init.ExternalTrigConvEdge = ADC_EXTERNALTRIGCONVEDGE_RISING;
  hadc1.Init.ConversionDataManagement = ADC_CONVERSIONDATA_DMA_CIRCULAR;
  hadc1.Init.Overrun = ADC_OVR_DATA_PRESERVED;
  hadc1.Init.LeftBitShift = ADC_LEFTBITSHIFT_NONE;
  hadc1.Init.OversamplingMode = DISABLE;
  if (HAL_ADC_Init(&hadc1) != HAL_OK)
  {
    Error_Handler();
  }

  /** Configure the ADC multi-mode
  */
  multimode.Mode = ADC_MODE_INDEPENDENT;
  if (HAL_ADCEx_MultiModeConfigChannel(&hadc1, &multimode) != HAL_OK)
  {
    Error_Handler();
  }

  /** Configure Regular Channel
  */
  sConfig.Channel = ADC_CHANNEL_16;
  sConfig.Rank = ADC_REGULAR_RANK_1;
  sConfig.SamplingTime = ADC_SAMPLETIME_32CYCLES_5;
  sConfig.SingleDiff = ADC_SINGLE_ENDED;
  sConfig.OffsetNumber = ADC_OFFSET_NONE;
  sConfig.Offset = 0;
  sConfig.OffsetSignedSaturation = DISABLE;
  if (HAL_ADC_ConfigChannel(&hadc1, &sConfig) != HAL_OK)
  {
    Error_Handler();
  }

  /** Configure Regular Channel
  */
  sConfig.Channel = ADC_CHANNEL_17;
  sConfig.Rank = ADC_REGULAR_RANK_2;
  if (HAL_ADC_ConfigChannel(&hadc1, &sConfig) != HAL_OK)
  {
    Error_Handler();
  }

  /** Configure Regular Channel
  */
  sConfig.Channel = ADC_CHANNEL_14;
  sConfig.Rank = ADC_REGULAR_RANK_3;
  if (HAL_ADC_ConfigChannel(&hadc1, &sConfig) != HAL_OK)
  {
    Error_Handler();
  }

  /** Configure Regular Channel
  */
  sConfig.Channel = ADC_CHANNEL_15;
  sConfig.Rank = ADC_REGULAR_RANK_4;
  if (HAL_ADC_ConfigChannel(&hadc1, &sConfig) != HAL_OK)
  {
    Error_Handler();
  }

  /** Configure Regular Channel
  */
  sConfig.Channel = ADC_CHANNEL_11;
  sConfig.Rank = ADC_REGULAR_RANK_5;
  if (HAL_ADC_ConfigChannel(&hadc1, &sConfig) != HAL_OK)
  {
    Error_Handler();
  }

}

static void MX_ADC2_Init(void)
{

  ADC_ChannelConfTypeDef sConfig = {0};

  /** Common config
  */
  hadc2.Instance = ADC2;
  hadc2.Init.ClockPrescaler = ADC_CLOCK_ASYNC_DIV2;
  hadc2.Init.Resolution = ADC_RESOLUTION_16B;
  hadc2.Init.ScanConvMode = ADC_SCAN_DISABLE;
  hadc2.Init.EOCSelection = ADC_EOC_SINGLE_CONV;
  hadc2.Init.LowPowerAutoWait = DISABLE;
  hadc2.Init.ContinuousConvMode = DISABLE;
  hadc2.Init.NbrOfConversion = 1;
  hadc2.Init.DiscontinuousConvMode = DISABLE;
  hadc2.Init.ExternalTrigConv = ADC_SOFTWARE_START;
  hadc2.Init.ExternalTrigConvEdge = ADC_EXTERNALTRIGCONVEDGE_NONE;
  hadc2.Init.ConversionDataManagement = ADC_CONVERSIONDATA_DR;
  hadc2.Init.Overrun = ADC_OVR_DATA_PRESERVED;
  hadc2.Init.LeftBitShift = ADC_LEFTBITSHIFT_NONE;
  hadc2.Init.OversamplingMode = DISABLE;
  if (HAL_ADC_Init(&hadc2) != HAL_OK)
  {
    Error_Handler();
  }

  /** Configure Regular Channel
  */
  sConfig.Channel = ADC_CHANNEL_TEMPSENSOR;
  sConfig.Rank = ADC_REGULAR_RANK_1;
  sConfig.SamplingTime = ADC_SAMPLETIME_1CYCLE_5;
  sConfig.SingleDiff = ADC_SINGLE_ENDED;
  sConfig.OffsetNumber = ADC_OFFSET_NONE;
  sConfig.Offset = 0;
  sConfig.OffsetSignedSaturation = DISABLE;
  if (HAL_ADC_ConfigChannel(&hadc2, &sConfig) != HAL_OK)
  {
    Error_Handler();
  }

}

static void MX_I2C1_Init(void)
{

  hi2c1.Instance = I2C1;
  hi2c1.Init.Timing = 0x20B0CCFF;
  hi2c1.Init.OwnAddress1 = 0;
  hi2c1.Init.AddressingMode = I2C_ADDRESSINGMODE_7BIT;
  hi2c1.Init.DualAddressMode = I2C_DUALADDRESS_DISABLE;
  hi2c1.Init.OwnAddress2 = 0;
  hi2c1.Init.OwnAddress2Masks = I2C_OA2_NOMASK;
  hi2c1.Init.GeneralCallMode = I2C_GENERALCALL_DISABLE;
  hi2c1.Init.NoStretchMode = I2C_NOSTRETCH_DISABLE;
  if (HAL_I2C_Init(&hi2c1) != HAL_OK)
  {
    Error_Handler();
  }

  /** Configure Analogue filter
  */
  if (HAL_I2CEx_ConfigAnalogFilter(&hi2c1, I2C_ANALOGFILTER_ENABLE) != HAL_OK)
  {
    Error_Handler();
  }

  /** Configure Digital filter
  */
  if (HAL_I2CEx_ConfigDigitalFilter(&hi2c1, 0) != HAL_OK)
  {
    Error_Handler();
  }

}

static void MX_OCTOSPI2_Init(void)
{

  OSPIM_CfgTypeDef sOspiManagerCfg = {0};

  /* OCTOSPI2 parameter configuration*/
  hospi2.Instance = OCTOSPI2;
  hospi2.Init.FifoThreshold = 1;
  hospi2.Init.DualQuad = HAL_OSPI_DUALQUAD_DISABLE;
  hospi2.Init.MemoryType = HAL_OSPI_MEMTYPE_MICRON;
  hospi2.Init.DeviceSize = 32;
  hospi2.Init.ChipSelectHighTime = 1;
  hospi2.Init.FreeRunningClock = HAL_OSPI_FREERUNCLK_DISABLE;
  hospi2.Init.ClockMode = HAL_OSPI_CLOCK_MODE_0;
  hospi2.Init.WrapSize = HAL_OSPI_WRAP_NOT_SUPPORTED;
  hospi2.Init.ClockPrescaler = 1;
  hospi2.Init.SampleShifting = HAL_OSPI_SAMPLE_SHIFTING_NONE;
  hospi2.Init.DelayHoldQuarterCycle = HAL_OSPI_DHQC_DISABLE;
  hospi2.Init.ChipSelectBoundary = 0;
  hospi2.Init.DelayBlockBypass = HAL_OSPI_DELAY_BLOCK_BYPASSED;
  hospi2.Init.MaxTran = 0;
  hospi2.Init.Refresh = 0;
  if (HAL_OSPI_Init(&hospi2) != HAL_OK)
  {
    Error_Handler();
  }
  sOspiManagerCfg.ClkPort = 1;
  sOspiManagerCfg.NCSPort = 1;
  sOspiManagerCfg.IOLowPort = HAL_OSPIM_IOPORT_1_LOW;
  if (HAL_OSPIM_Config(&hospi2, &sOspiManagerCfg, HAL_OSPI_TIMEOUT_DEFAULT_VALUE) != HAL_OK)
  {
    Error_Handler();
  }

}

static void MX_SAI1_Init(void)
{

  hsai_BlockA1.Instance = SAI1_Block_A;
  hsai_BlockA1.Init.AudioMode = SAI_MODEMASTER_TX;
  hsai_BlockA1.Init.Synchro = SAI_ASYNCHRONOUS;
  hsai_BlockA1.Init.OutputDrive = SAI_OUTPUTDRIVE_DISABLE;
  hsai_BlockA1.Init.NoDivider = SAI_MASTERDIVIDER_ENABLE;
  hsai_BlockA1.Init.FIFOThreshold = SAI_FIFOTHRESHOLD_EMPTY;
  hsai_BlockA1.Init.AudioFrequency = SAI_AUDIO_FREQUENCY_32K;
  hsai_BlockA1.Init.SynchroExt = SAI_SYNCEXT_DISABLE;
  hsai_BlockA1.Init.MonoStereoMode = SAI_STEREOMODE;
  hsai_BlockA1.Init.CompandingMode = SAI_NOCOMPANDING;
  hsai_BlockA1.Init.TriState = SAI_OUTPUT_NOTRELEASED;
  if (HAL_SAI_InitProtocol(&hsai_BlockA1, SAI_I2S_STANDARD, SAI_PROTOCOL_DATASIZE_24BIT, 2) != HAL_OK)
  {
    Error_Handler();
  }
  hsai_BlockB1.Instance = SAI1_Block_B;
  hsai_BlockB1.Init.AudioMode = SAI_MODESLAVE_RX;
  hsai_BlockB1.Init.Synchro = SAI_SYNCHRONOUS;
  hsai_BlockB1.Init.OutputDrive = SAI_OUTPUTDRIVE_DISABLE;
  hsai_BlockB1.Init.FIFOThreshold = SAI_FIFOTHRESHOLD_EMPTY;
  hsai_BlockB1.Init.SynchroExt = SAI_SYNCEXT_DISABLE;
  hsai_BlockB1.Init.MonoStereoMode = SAI_STEREOMODE;
  hsai_BlockB1.Init.CompandingMode = SAI_NOCOMPANDING;
  hsai_BlockB1.Init.TriState = SAI_OUTPUT_NOTRELEASED;
  if (HAL_SAI_InitProtocol(&hsai_BlockB1, SAI_I2S_STANDARD, SAI_PROTOCOL_DATASIZE_24BIT, 2) != HAL_OK)
  {
    Error_Handler();
  }

}

static void MX_TIM1_Init(void)
{

  TIM_ClockConfigTypeDef sClockSourceConfig = {0};
  TIM_MasterConfigTypeDef sMasterConfig = {0};
  TIM_OC_InitTypeDef sConfigOC = {0};
  TIM_BreakDeadTimeConfigTypeDef sBreakDeadTimeConfig = {0};

  htim1.Instance = TIM1;
  htim1.Init.Prescaler = 28000-1;
  htim1.Init.CounterMode = TIM_COUNTERMODE_UP;
  htim1.Init.Period = 100-1;
  htim1.Init.ClockDivision = TIM_CLOCKDIVISION_DIV1;
  htim1.Init.RepetitionCounter = 0;
  htim1.Init.AutoReloadPreload = TIM_AUTORELOAD_PRELOAD_DISABLE;
  if (HAL_TIM_Base_Init(&htim1) != HAL_OK)
  {
    Error_Handler();
  }
  sClockSourceConfig.ClockSource = TIM_CLOCKSOURCE_INTERNAL;
  if (HAL_TIM_ConfigClockSource(&htim1, &sClockSourceConfig) != HAL_OK)
  {
    Error_Handler();
  }
  if (HAL_TIM_PWM_Init(&htim1) != HAL_OK)
  {
    Error_Handler();
  }
  sMasterConfig.MasterOutputTrigger = TIM_TRGO_RESET;
  sMasterConfig.MasterOutputTrigger2 = TIM_TRGO2_RESET;
  sMasterConfig.MasterSlaveMode = TIM_MASTERSLAVEMODE_DISABLE;
  if (HAL_TIMEx_MasterConfigSynchronization(&htim1, &sMasterConfig) != HAL_OK)
  {
    Error_Handler();
  }
  sConfigOC.OCMode = TIM_OCMODE_PWM1;
  sConfigOC.Pulse = 0;
  sConfigOC.OCPolarity = TIM_OCPOLARITY_HIGH;
  sConfigOC.OCNPolarity = TIM_OCNPOLARITY_HIGH;
  sConfigOC.OCFastMode = TIM_OCFAST_DISABLE;
  sConfigOC.OCIdleState = TIM_OCIDLESTATE_RESET;
  sConfigOC.OCNIdleState = TIM_OCNIDLESTATE_RESET;
  if (HAL_TIM_PWM_ConfigChannel(&htim1, &sConfigOC, TIM_CHANNEL_1) != HAL_OK)
  {
    Error_Handler();
  }
  sBreakDeadTimeConfig.OffStateRunMode = TIM_OSSR_DISABLE;
  sBreakDeadTimeConfig.OffStateIDLEMode = TIM_OSSI_DISABLE;
  sBreakDeadTimeConfig.LockLevel = TIM_LOCKLEVEL_OFF;
  sBreakDeadTimeConfig.DeadTime = 0;
  sBreakDeadTimeConfig.BreakState = TIM_BREAK_DISABLE;
  sBreakDeadTimeConfig.BreakPolarity = TIM_BREAKPOLARITY_HIGH;
  sBreakDeadTimeConfig.BreakFilter = 0;
  sBreakDeadTimeConfig.Break2State = TIM_BREAK2_DISABLE;
  sBreakDeadTimeConfig.Break2Polarity = TIM_BREAK2POLARITY_HIGH;
  sBreakDeadTimeConfig.Break2Filter = 0;
  sBreakDeadTimeConfig.AutomaticOutput = TIM_AUTOMATICOUTPUT_DISABLE;
  if (HAL_TIMEx_ConfigBreakDeadTime(&htim1, &sBreakDeadTimeConfig) != HAL_OK)
  {
    Error_Handler();
  }
  HAL_TIM_MspPostInit(&htim1);

}

static void MX_TIM3_Init(void)
{

  TIM_ClockConfigTypeDef sClockSourceConfig = {0};
  TIM_MasterConfigTypeDef sMasterConfig = {0};
  TIM_OC_InitTypeDef sConfigOC = {0};

  htim3.Instance = TIM3;
  htim3.Init.Prescaler = 28000-1;
  htim3.Init.CounterMode = TIM_COUNTERMODE_UP;
  htim3.Init.Period = 1000-1;
  htim3.Init.ClockDivision = TIM_CLOCKDIVISION_DIV1;
  htim3.Init.AutoReloadPreload = TIM_AUTORELOAD_PRELOAD_DISABLE;
  if (HAL_TIM_Base_Init(&htim3) != HAL_OK)
  {
    Error_Handler();
  }
  sClockSourceConfig.ClockSource = TIM_CLOCKSOURCE_INTERNAL;
  if (HAL_TIM_ConfigClockSource(&htim3, &sClockSourceConfig) != HAL_OK)
  {
    Error_Handler();
  }
  if (HAL_TIM_PWM_Init(&htim3) != HAL_OK)
  {
    Error_Handler();
  }
  sMasterConfig.MasterOutputTrigger = TIM_TRGO_UPDATE;
  sMasterConfig.MasterSlaveMode = TIM_MASTERSLAVEMODE_DISABLE;
  if (HAL_TIMEx_MasterConfigSynchronization(&htim3, &sMasterConfig) != HAL_OK)
  {
    Error_Handler();
  }
  sConfigOC.OCMode = TIM_OCMODE_PWM1;
  sConfigOC.Pulse = 0;
  sConfigOC.OCPolarity = TIM_OCPOLARITY_HIGH;
  sConfigOC.OCFastMode = TIM_OCFAST_DISABLE;
  if (HAL_TIM_PWM_ConfigChannel(&htim3, &sConfigOC, TIM_CHANNEL_1) != HAL_OK)
  {
    Error_Handler();
  }

}

static void MX_TIM15_Init(void)
{

  TIM_ClockConfigTypeDef sClockSourceConfig = {0};
  TIM_MasterConfigTypeDef sMasterConfig = {0};
  TIM_OC_InitTypeDef sConfigOC = {0};
  TIM_BreakDeadTimeConfigTypeDef sBreakDeadTimeConfig = {0};

  htim15.Instance = TIM15;
  htim15.Init.Prescaler = 28000-1;
  htim15.Init.CounterMode = TIM_COUNTERMODE_UP;
  htim15.Init.Period = 100-1;
  htim15.Init.ClockDivision = TIM_CLOCKDIVISION_DIV1;
  htim15.Init.RepetitionCounter = 0;
  htim15.Init.AutoReloadPreload = TIM_AUTORELOAD_PRELOAD_DISABLE;
  if (HAL_TIM_Base_Init(&htim15) != HAL_OK)
  {
    Error_Handler();
  }
  sClockSourceConfig.ClockSource = TIM_CLOCKSOURCE_INTERNAL;
  if (HAL_TIM_ConfigClockSource(&htim15, &sClockSourceConfig) != HAL_OK)
  {
    Error_Handler();
  }
  if (HAL_TIM_PWM_Init(&htim15) != HAL_OK)
  {
    Error_Handler();
  }
  sMasterConfig.MasterOutputTrigger = TIM_TRGO_RESET;
  sMasterConfig.MasterSlaveMode = TIM_MASTERSLAVEMODE_DISABLE;
  if (HAL_TIMEx_MasterConfigSynchronization(&htim15, &sMasterConfig) != HAL_OK)
  {
    Error_Handler();
  }
  sConfigOC.OCMode = TIM_OCMODE_PWM1;
  sConfigOC.Pulse = 0;
  sConfigOC.OCPolarity = TIM_OCPOLARITY_HIGH;
  sConfigOC.OCNPolarity = TIM_OCNPOLARITY_HIGH;
  sConfigOC.OCFastMode = TIM_OCFAST_DISABLE;
  sConfigOC.OCIdleState = TIM_OCIDLESTATE_RESET;
  sConfigOC.OCNIdleState = TIM_OCNIDLESTATE_RESET;
  if (HAL_TIM_PWM_ConfigChannel(&htim15, &sConfigOC, TIM_CHANNEL_1) != HAL_OK)
  {
    Error_Handler();
  }
  sBreakDeadTimeConfig.OffStateRunMode = TIM_OSSR_DISABLE;
  sBreakDeadTimeConfig.OffStateIDLEMode = TIM_OSSI_DISABLE;
  sBreakDeadTimeConfig.LockLevel = TIM_LOCKLEVEL_OFF;
  sBreakDeadTimeConfig.DeadTime = 0;
  sBreakDeadTimeConfig.BreakState = TIM_BREAK_DISABLE;
  sBreakDeadTimeConfig.BreakPolarity = TIM_BREAKPOLARITY_HIGH;
  sBreakDeadTimeConfig.BreakFilter = 0;
  sBreakDeadTimeConfig.AutomaticOutput = TIM_AUTOMATICOUTPUT_DISABLE;
  if (HAL_TIMEx_ConfigBreakDeadTime(&htim15, &sBreakDeadTimeConfig) != HAL_OK)
  {
    Error_Handler();
  }
  HAL_TIM_MspPostInit(&htim15);

}

static void MX_DMA_Init(void)
{

  /* DMA controller clock enable */
  __HAL_RCC_DMA2_CLK_ENABLE();
  __HAL_RCC_DMA1_CLK_ENABLE();

  /* DMA interrupt init */
  /* DMA1_Stream0_IRQn interrupt configuration */
  HAL_NVIC_SetPriority(DMA1_Stream0_IRQn, 0, 0);
  HAL_NVIC_EnableIRQ(DMA1_Stream0_IRQn);
  /* DMA1_Stream1_IRQn interrupt configuration */
  HAL_NVIC_SetPriority(DMA1_Stream1_IRQn, 0, 0);
  HAL_NVIC_EnableIRQ(DMA1_Stream1_IRQn);
  /* DMA2_Stream0_IRQn interrupt configuration */
  HAL_NVIC_SetPriority(DMA2_Stream0_IRQn, 0, 0);
  HAL_NVIC_EnableIRQ(DMA2_Stream0_IRQn);

}

static void MX_GPIO_Init(void)
{
  GPIO_InitTypeDef GPIO_InitStruct = {0};

  /* GPIO Ports Clock Enable */
  __HAL_RCC_GPIOE_CLK_ENABLE();
  __HAL_RCC_GPIOH_CLK_ENABLE();
  __HAL_RCC_GPIOC_CLK_ENABLE();
  __HAL_RCC_GPIOA_CLK_ENABLE();
  __HAL_RCC_GPIOB_CLK_ENABLE();
  __HAL_RCC_GPIOD_CLK_ENABLE();

  /*Configure GPIO pin Output Level */
  HAL_GPIO_WritePin(QUIET_LOW_GPIO_Port, QUIET_LOW_Pin, GPIO_PIN_RESET);

  /*Configure GPIO pin Output Level */
  HAL_GPIO_WritePin(QUIET_HIGH_GPIO_Port, QUIET_HIGH_Pin, GPIO_PIN_SET);

  /*Configure GPIO pin Output Level */
  HAL_GPIO_WritePin(CODEC_NRST_GPIO_Port, CODEC_NRST_Pin, GPIO_PIN_RESET);

  /*Configure GPIO pins : QUIET_LOW_Pin QUIET_HIGH_Pin */
  GPIO_InitStruct.Pin = QUIET_LOW_Pin|QUIET_HIGH_Pin;
  GPIO_InitStruct.Mode = GPIO_MODE_OUTPUT_PP;
  GPIO_InitStruct.Pull = GPIO_NOPULL;
  GPIO_InitStruct.Speed = GPIO_SPEED_FREQ_VERY_HIGH;
  HAL_GPIO_Init(GPIOA, &GPIO_InitStruct);

  /*Configure GPIO pins : DIP3_Pin DIP2_Pin DIP1_Pin */
  GPIO_InitStruct.Pin = DIP3_Pin|DIP2_Pin|DIP1_Pin;
  GPIO_InitStruct.Mode = GPIO_MODE_INPUT;
  GPIO_InitStruct.Pull = GPIO_PULLUP;
  HAL_GPIO_Init(GPIOE, &GPIO_InitStruct);

  /*Configure GPIO pin : FX2_EN_Pin */
  GPIO_InitStruct.Pin = FX2_EN_Pin;
  GPIO_InitStruct.Mode = GPIO_MODE_IT_RISING_FALLING;
  GPIO_InitStruct.Pull = GPIO_PULLUP;
  HAL_GPIO_Init(FX2_EN_GPIO_Port, &GPIO_InitStruct);

  /*Configure GPIO pin : CODEC_NRST_Pin */
  GPIO_InitStruct.Pin = CODEC_NRST_Pin;
  GPIO_InitStruct.Mode = GPIO_MODE_OUTPUT_PP;
  GPIO_InitStruct.Pull = GPIO_NOPULL;
  GPIO_InitStruct.Speed = GPIO_SPEED_FREQ_LOW;
  HAL_GPIO_Init(CODEC_NRST_GPIO_Port, &GPIO_InitStruct);

  /*Configure GPIO pin : FX1_EN_Pin */
  GPIO_InitStruct.Pin = FX1_EN_Pin;
  GPIO_InitStruct.Mode = GPIO_MODE_IT_RISING_FALLING;
  GPIO_InitStruct.Pull = GPIO_PULLUP;
  HAL_GPIO_Init(FX1_EN_GPIO_Port, &GPIO_InitStruct);

  /* EXTI interrupt init*/
  HAL_NVIC_SetPriority(EXTI4_IRQn, 0, 0);
  HAL_NVIC_EnableIRQ(EXTI4_IRQn);

  HAL_NVIC_SetPriority(EXTI9_5_IRQn, 0, 0);
  HAL_NVIC_EnableIRQ(EXTI9_5_IRQn);

}

void Error_Handler(void)
{
  __disable_irq();
  while (1)
  {
  }
}
